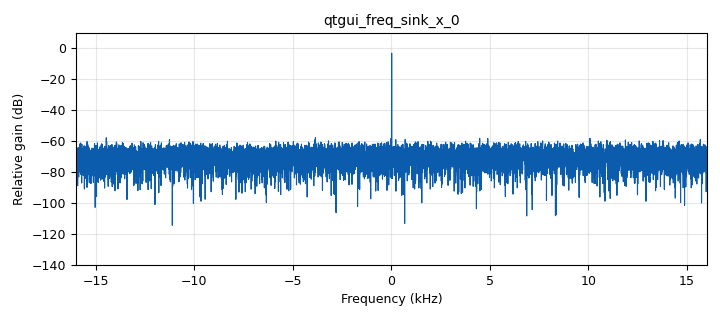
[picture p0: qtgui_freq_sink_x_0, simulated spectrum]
<?xml version='1.0' encoding='utf-8'?>
<?grc format='1' created='3.7.9'?>
<flow_graph>
<block>
<key>options</key>
<param><key>id</key><value>top_block</value></param>
<param><key>author</key><value>AW</value></param>
<param><key>category</key><value>Custom</value></param>
<param><key>generate_options</key><value>qt_gui</value></param>
</block>
<block>
<key>variable</key>
<param><key>id</key><value>freq</value></param>
<param><key>value</key><value>12</value></param>
</block>
<block>
<key>variable_qtgui_range</key>
<param><key>id</key><value>noise_amplitude</value></param>
<param><key>value</key><value>0.1</value></param>
<param><key>orient</key><value>Qt.Horizontal</value></param>
<param><key>start</key><value>0</value></param>
<param><key>step</key><value>0.01</value></param>
<param><key>stop</key><value>1</value></param>
</block>
<block>
<key>variable</key>
<param><key>id</key><value>samp_rate</value></param>
<param><key>value</key><value>32000</value></param>
</block>
<block>
<key>analog_noise_source_x</key>
<param><key>id</key><value>analog_noise_source_x_0</value></param>
<param><key>amp</key><value>noise_amplitude</value></param>
<param><key>noise_type</key><value>analog.GR_GAUSSIAN</value></param>
<param><key>type</key><value>complex</value></param>
<param><key>seed</key><value>0</value></param>
</block>
<block>
<key>analog_sig_source_x</key>
<param><key>id</key><value>analog_sig_source_x_0</value></param>
<param><key>amp</key><value>2</value></param>
<param><key>freq</key><value>freq</value></param>
<param><key>offset</key><value>0</value></param>
<param><key>type</key><value>complex</value></param>
<param><key>samp_rate</key><value>samp_rate</value></param>
<param><key>waveform</key><value>analog.GR_COS_WAVE</value></param>
</block>
<block>
<key>blocks_add_xx</key>
<param><key>id</key><value>blocks_add_xx_0</value></param>
<param><key>type</key><value>complex</value></param>
</block>
<block>
<key>blocks_throttle</key>
<param><key>id</key><value>blocks_throttle_0</value></param>
<param><key>samples_per_second</key><value>samp_rate</value></param>
<param><key>type</key><value>complex</value></param>
</block>
<block>
<key>qtgui_freq_sink_x</key>
<param><key>id</key><value>qtgui_freq_sink_x_0</value></param>
<param><key>bw</key><value>samp_rate</value></param>
<param><key>fc</key><value>0</value></param>
<param><key>fftsize</key><value>1024*15</value></param>
<param><key>grid</key><value>True</value></param>
<param><key>showports</key><value>True</value></param>
<param><key>type</key><value>complex</value></param>
<param><key>wintype</key><value>firdes.WIN_BLACKMAN_hARRIS</value></param>
</block>
<connection><source_block_id>analog_noise_source_x_0</source_block_id><sink_block_id>blocks_add_xx_0</sink_block_id><source_key>0</source_key><sink_key>0</sink_key></connection>
<connection><source_block_id>analog_sig_source_x_0</source_block_id><sink_block_id>blocks_throttle_0</sink_block_id><source_key>0</source_key><sink_key>0</sink_key></connection>
<connection><source_block_id>blocks_add_xx_0</source_block_id><sink_block_id>qtgui_freq_sink_x_0</sink_block_id><source_key>0</source_key><sink_key>0</sink_key></connection>
<connection><source_block_id>blocks_throttle_0</source_block_id><sink_block_id>blocks_add_xx_0</sink_block_id><source_key>0</source_key><sink_key>1</sink_key></connection>
</flow_graph>
